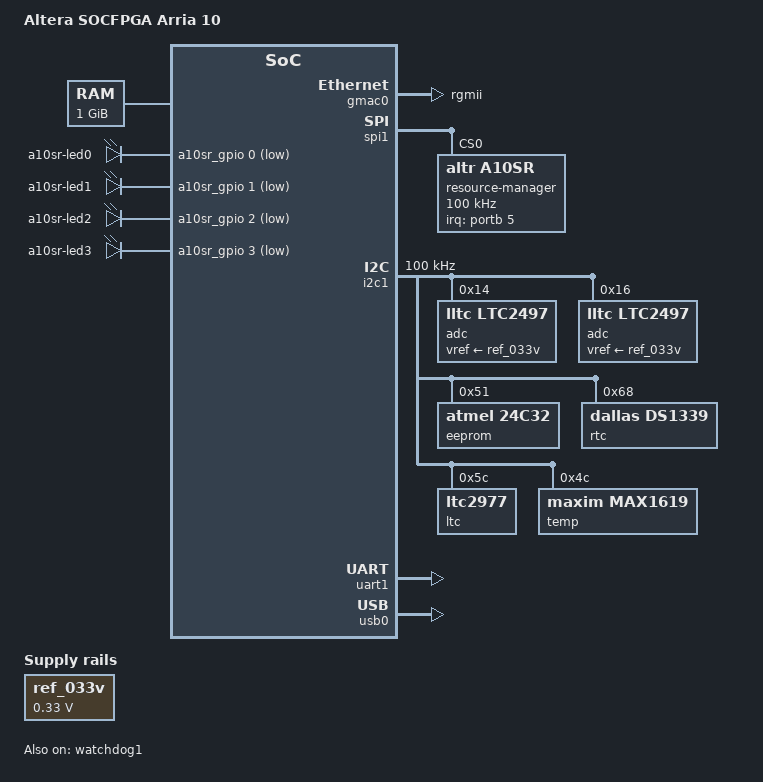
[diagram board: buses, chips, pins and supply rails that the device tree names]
// SPDX-License-Identifier: GPL-2.0+
/*
 * Copyright (C) 2015 Altera Corporation <www.altera.com>
 */
#include "socfpga_arria10.dtsi"

/ {
	model = "Altera SOCFPGA Arria 10";
	compatible = "altr,socfpga-arria10-socdk", "altr,socfpga-arria10", "altr,socfpga";

	aliases {
		ethernet0 = &gmac0;
		serial0 = &uart1;
	};

	chosen {
		bootargs = "earlyprintk";
		stdout-path = "serial0:115200n8";
	};

	memory@0 {
		name = "memory";
		device_type = "memory";
		reg = <0x0 0x40000000>; /* 1GB */
	};

	a10leds {
		compatible = "gpio-leds";

		a10sr_led0 {
			label = "a10sr-led0";
			gpios = <&a10sr_gpio 0 1>;
		};

		a10sr_led1 {
			label = "a10sr-led1";
			gpios = <&a10sr_gpio 1 1>;
		};

		a10sr_led2 {
			label = "a10sr-led2";
			gpios = <&a10sr_gpio 2 1>;
		};

		a10sr_led3 {
			label = "a10sr-led3";
			gpios = <&a10sr_gpio 3 1>;
		};
	};

	ref_033v: 033-v-ref {
		compatible = "regulator-fixed";
		regulator-name = "0.33V";
		regulator-min-microvolt = <330000>;
		regulator-max-microvolt = <330000>;
	};

	soc {
		clkmgr@ffd04000 {
			clocks {
				osc1 {
					clock-frequency = <25000000>;
				};
			};
		};
	};
};

&gmac0 {
	phy-mode = "rgmii";
	phy-addr = <0xffffffff>; /* probe for phy addr */

	/*
	 * These skews assume the user's FPGA design is adding 600ps of delay
	 * for TX_CLK on Arria 10.
	 *
	 * All skews are offset since hardware skew values for the ksz9031
	 * range from a negative skew to a positive skew.
	 * See the micrel-ksz90x1.txt Documentation file for details.
	 */
	txd0-skew-ps = <0>; /* -420ps */
	txd1-skew-ps = <0>; /* -420ps */
	txd2-skew-ps = <0>; /* -420ps */
	txd3-skew-ps = <0>; /* -420ps */
	rxd0-skew-ps = <420>; /* 0ps */
	rxd1-skew-ps = <420>; /* 0ps */
	rxd2-skew-ps = <420>; /* 0ps */
	rxd3-skew-ps = <420>; /* 0ps */
	txen-skew-ps = <0>; /* -420ps */
	txc-skew-ps = <1860>; /* 960ps */
	rxdv-skew-ps = <420>; /* 0ps */
	rxc-skew-ps = <1680>; /* 780ps */
	max-frame-size = <3800>;
	status = "okay";
};

&gpio1 {
	status = "okay";
};

&spi1 {
	status = "okay";

	resource-manager@0 {
		compatible = "altr,a10sr";
		reg = <0>;
		spi-max-frequency = <100000>;
		/* low-level active IRQ at GPIO1_5 */
		interrupt-parent = <&portb>;
		interrupts = <5 IRQ_TYPE_LEVEL_LOW>;
		interrupt-controller;
		#interrupt-cells = <2>;

		a10sr_gpio: gpio-controller {
			compatible = "altr,a10sr-gpio";
			gpio-controller;
			#gpio-cells = <2>;
		};

		a10sr_rst: reset-controller {
			compatible = "altr,a10sr-reset";
			#reset-cells = <1>;
		};
	};
};

&i2c1 {
	status = "okay";

	/*
	 * adjust the falling times to decrease the i2c frequency to 50Khz
	 * because the LCD module does not work at the standard 100Khz
	 */
	clock-frequency = <100000>;
	i2c-sda-falling-time-ns = <6000>;
	i2c-scl-falling-time-ns = <6000>;

	adc@14 {
		compatible = "lltc,ltc2497";
		reg = <0x14>;
		vref-supply = <&ref_033v>;
	};

	adc@16 {
		compatible = "lltc,ltc2497";
		reg = <0x16>;
		vref-supply = <&ref_033v>;
	};

	eeprom@51 {
		compatible = "atmel,24c32";
		reg = <0x51>;
		pagesize = <32>;
	};

	rtc@68 {
		compatible = "dallas,ds1339";
		reg = <0x68>;
	};

	ltc@5c {
		compatible = "ltc2977";
		reg = <0x5c>;
	};

	temp@4c {
		compatible = "maxim,max1619";
		reg = <0x4c>;
	};
};

&uart1 {
	status = "okay";
};

&usb0 {
	status = "okay";
	disable-over-current;
};

&watchdog1 {
	status = "okay";
};
